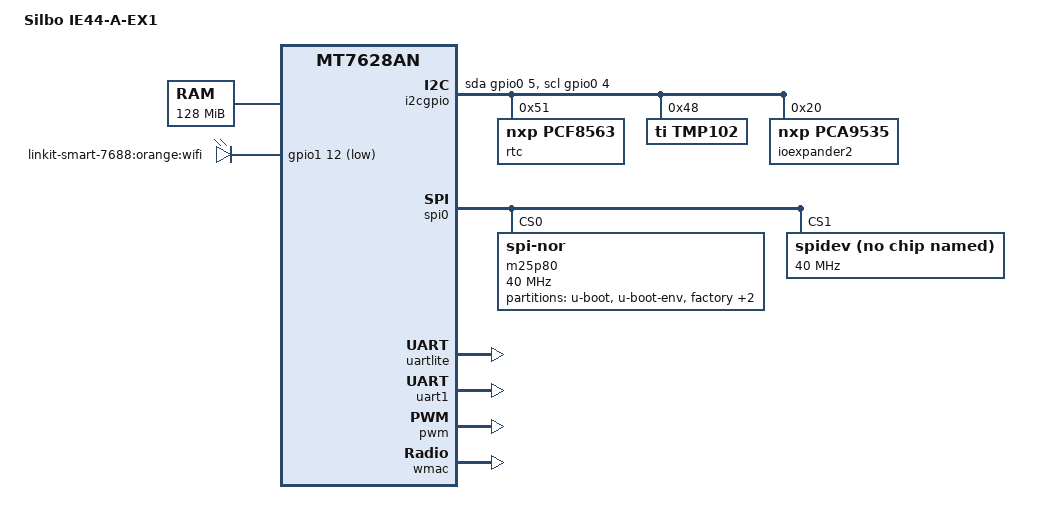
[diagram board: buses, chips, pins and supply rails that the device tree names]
/dts-v1/;

#include "mt7628an.dtsi"

#include <dt-bindings/gpio/gpio.h>
#include <dt-bindings/input/input.h>

/ {
	compatible = "Silbo_IE44-A-EX1", "mediatek,linkit-smart-7688", "mediatek,mt7628an-soc", "ralink,mt7628an-soc";
	model = "Silbo IE44-A-EX1";

	aliases {
		led-boot = &led_wifi;
		led-failsafe = &led_wifi;
		led-running = &led_wifi;
		led-upgrade = &led_wifi;
	};

	chosen {
		bootargs = "console=ttyS0,115200";
	};

	aliases {
		serial0 = &uartlite;
	};

    i2cgpio {
		compatible = "i2c-gpio";
		gpios = <&gpio0 5 0 &gpio0 4 0>;
		i2c-gpio,delay-us = <10>;
		status = "okay";
		
		rtc@51 {
		compatible = "nxp,pcf8563";
        reg = <0x51>;
        };
        
		
		tmp102@51 {
		compatible = "ti,tmp102";
        reg = <0x48>;
        };
        
        ioexpander2:pca95xx@20 {
		compatible = "nxp,pca9535";
        reg = <0x20>; 
           
         }; 
        
	};
	
	memory@0 {
		device_type = "memory";
		reg = <0x0 0x8000000>;
	};

    pinctrl {
		state_default: pinctrl0 {
			gpio {
				ralink,group = "gpio";
				ralink,function = "gpio";
			};
			perst {
				ralink,group = "perst";
				ralink,function = "gpio";
			};
			refclk {
				ralink,group = "refclk";
				ralink,function = "gpio";
			};
			i2s {
				ralink,group = "i2s";
				ralink,function = "gpio";
			};
			spis {
				ralink,group = "spis";
				ralink,function = "gpio";
			};
			
			i2c {
				ralink,group = "i2c";
				ralink,function = "gpio";
			};
			
			wled_an {
				ralink,group = "wled_an";
				ralink,function = "gpio";
		    };
			
			p0led_an {
				ralink,group = "p0led_an";
				ralink,function = "p0led_an";
			};
			
			p1led_an {
				ralink,group = "p1led_an";
				ralink,function = "p1led_an";
			};
			
			p2led_an {
				ralink,group = "p2led_an";
				ralink,function = "gpio";
			};
			
			p3led_an {
				ralink,group = "p3led_an";
				ralink,function = "gpio";
			};
			
			p4led_an {
				ralink,group = "p4led_an";
				ralink,function = "p4led_an";
			};
		};
	};

	leds {
		compatible = "gpio-leds";

		led_wifi: wifi {
			label = "linkit-smart-7688:orange:wifi";
			gpios = <&gpio1 12 GPIO_ACTIVE_LOW>;
		};
	};

};


&spi0 {
	status = "okay";

	pinctrl-names = "default";
	pinctrl-0 = <&spi_pins>, <&spi_cs1_pins>;

	m25p80@0 {
		compatible = "jedec,spi-nor";
		reg = <0>;
		spi-max-frequency = <40000000>;

		partitions {
			compatible = "fixed-partitions";
			#address-cells = <1>;
			#size-cells = <1>;

			partition@0 {
				label = "u-boot";
				reg = <0x0 0x30000>;
			};

			partition@30000 {
				label = "u-boot-env";
				reg = <0x30000 0x10000>;
			};

			factory: partition@40000 {
				label = "factory";
				reg = <0x40000 0x10000>;
			};

			partition@0000 {
				compatible = "denx,uimage";
				label = "firmware";
				reg = <0x50000 0x1fa0000>;
			};
			
			partition@f00000 {
				label = "user-data";
				reg = <0x1ff0000 0x10000>;
			};
		};
	};

	spidev@1 {
		#address-cells = <1>;
		#size-cells = <1>;
		compatible = "linux,spidev";
		reg = <1>;
		spi-max-frequency = <40000000>;
	};
};


&uartlite{
	status = "okay";
};

&uart1 {
	status = "okay";
};


&pwm {
	status = "okay";
};


&ethernet {
	mtd-mac-address = <&factory 0x28>;
	mediatek,portmap = "llllw";
};


&wmac {
	status = "okay";
};
